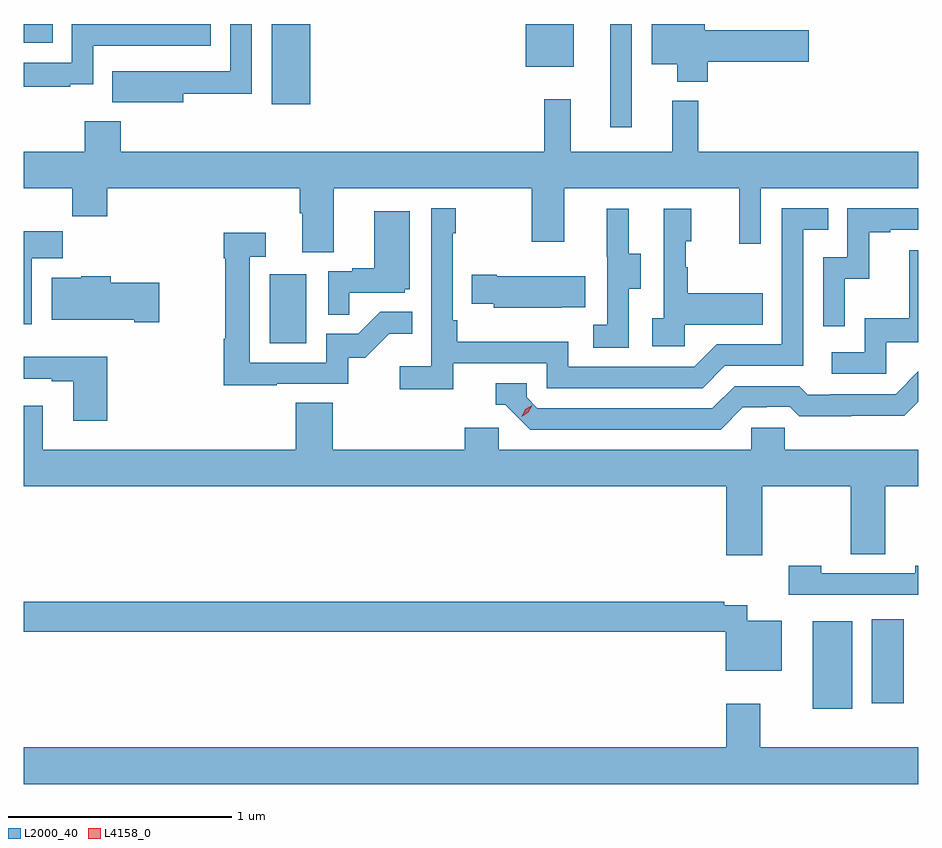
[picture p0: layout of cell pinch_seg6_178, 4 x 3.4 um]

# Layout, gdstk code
import gdstk
lib = gdstk.Library(unit=1e-6, precision=1e-09)
def R(c, l, rs):  # rectangles x0, y0, x1, y1
    for r in rs: c.add(gdstk.rectangle(r[:2], r[2:], *l))
def P(c, l, *ps):  # polygons
    for p in ps: c.add(gdstk.Polygon(p, *l))
L2000_40 = (2000, 40)
L4158_0 = (4158, 0)

pinch_seg6_178 = lib.new_cell('pinch_seg6_178')
R(pinch_seg6_178, L2000_40, [(1024.67,923.696,1024.846,924.088), (1024.934,923.721,1025.077,924.097), (1022.24,925.332,1022.404,925.639), (1023.764,926.298,1023.861,926.759), (1022.249,926.4,1022.422,926.759), (1023.386,926.567,1023.601,926.759), (1021.141,926.676,1021.271,926.759)])
P(pinch_seg6_178, L2000_40, [(1024.199,926.59),(1024.651,926.59),(1024.651,926.732),(1024.186,926.732),(1024.186,926.759),(1023.95,926.759),(1023.95,926.579),(1024.064,926.579),(1024.064,926.501),(1024.199,926.501)],
  [(1021.349,926.489),(1021.452,926.489),(1021.452,926.661),(1021.978,926.661),(1021.978,926.757),(1021.865,926.757),(1021.865,926.759),(1021.356,926.759),(1021.356,926.586),(1021.141,926.586),(1021.141,926.478),(1021.349,926.478)],
  [(1021.855,926.446),(1022.16,926.446),(1022.16,926.759),(1022.064,926.759),(1022.064,926.547),(1021.751,926.547),(1021.751,926.548),(1021.537,926.548),(1021.537,926.408),(1021.855,926.408)],
  [(1021.574,926.323),(1021.414,926.323),(1021.414,926.188),(1021.141,926.188),(1021.141,926.024),(1021.357,926.024),(1021.357,925.9),(1021.514,925.9),(1021.514,926.024),(1022.375,926.024),(1022.375,925.912),(1022.387,925.912),(1022.387,925.738),(1022.527,925.738),(1022.527,926.024),(1023.412,926.024),(1023.412,925.785),(1023.559,925.785),(1023.559,926.024),(1024.34,926.024),(1024.34,925.776),(1024.437,925.776),(1024.437,926.024),(1025.141,926.024),(1025.141,926.188),(1024.157,926.188),(1024.157,926.416),(1024.04,926.416),(1024.04,926.188),(1023.587,926.188),(1023.587,926.422),(1023.469,926.422),(1023.469,926.188),(1021.574,926.188)],
  [(1023.062,925.242),(1023.48,925.242),(1023.48,925.131),(1024.177,925.131),(1024.276,925.23),(1024.626,925.23),(1024.626,925.839),(1024.739,925.839),(1024.739,925.935),(1024.53,925.935),(1024.53,925.326),(1024.239,925.326),(1024.14,925.227),(1023.576,925.227),(1023.576,925.339),(1023.08,925.339),(1023.08,925.435),(1023.06,925.435),(1023.06,925.823),(1023.073,925.823),(1023.073,925.936),(1022.964,925.936),(1022.964,925.228),(1022.823,925.228),(1022.823,925.126),(1023.062,925.126)],
  [(1024.812,925.619),(1024.922,925.619),(1024.922,925.827),(1025.017,925.827),(1025.017,925.839),(1025.141,925.839),(1025.141,925.935),(1024.824,925.935),(1024.824,925.716),(1024.716,925.716),(1024.716,925.407),(1024.812,925.407)],
  [(1023.846,925.576),(1023.901,925.576),(1023.901,925.731),(1023.847,925.731),(1023.847,925.933),(1023.749,925.933),(1023.749,925.719),(1023.75,925.719),(1023.75,925.415),(1023.687,925.415),(1023.687,925.312),(1023.846,925.312)],
  [(1024.098,925.415),(1024.445,925.415),(1024.445,925.555),(1024.111,925.555),(1024.111,925.67),(1024.101,925.67),(1024.101,925.788),(1024.126,925.788),(1024.126,925.933),(1024.002,925.933),(1024.002,925.442),(1023.951,925.442),(1023.951,925.317),(1024.098,925.317)],
  [(1022.597,925.557),(1022.844,925.557),(1022.844,925.572),(1022.866,925.572),(1022.866,925.921),(1022.708,925.921),(1022.708,925.666),(1022.609,925.666),(1022.609,925.653),(1022.502,925.653),(1022.502,925.459),(1022.597,925.459)],
  [(1021.177,925.712),(1021.316,925.712),(1021.316,925.831),(1021.141,925.831),(1021.141,925.416),(1021.177,925.416)],
  [(1022.273,925.149),(1022.592,925.149),(1022.592,925.266),(1022.668,925.266),(1022.775,925.373),(1022.879,925.373),(1022.879,925.472),(1022.735,925.472),(1022.637,925.374),(1022.493,925.374),(1022.493,925.245),(1022.151,925.245),(1022.151,925.719),(1022.224,925.719),(1022.224,925.825),(1022.035,925.825),(1022.035,925.712),(1022.043,925.712),(1022.043,925.352),(1022.035,925.352),(1022.035,925.144),(1022.273,925.144)],
  [(1024.998,925.335),(1025.141,925.335),(1025.141,925.747),(1025.101,925.747),(1025.101,925.444),(1024.902,925.444),(1024.902,925.29),(1024.755,925.29),(1024.755,925.194),(1024.998,925.194)],
  [(1023.545,925.493),(1023.653,925.493),(1023.653,925.63),(1023.256,925.63),(1023.256,925.638),(1023.145,925.638),(1023.145,925.508),(1023.243,925.508),(1023.243,925.49),(1023.545,925.49)],
  [(1021.747,925.602),(1021.529,925.602),(1021.529,925.63),(1021.398,925.63),(1021.398,925.624),(1021.265,925.624),(1021.265,925.436),(1021.634,925.436),(1021.634,925.424),(1021.747,925.424)],
  [(1021.514,925.27),(1021.141,925.27),(1021.141,925.173),(1021.265,925.173),(1021.265,925.161),(1021.361,925.161),(1021.361,924.984),(1021.514,924.984)],
  [(1024.357,925.044),(1024.464,925.044),(1024.464,925.047),(1024.567,925.047),(1024.609,925.005),(1024.842,925.005),(1024.842,925.007),(1025.078,925.007),(1025.141,925.07),(1025.141,925.205),(1025.04,925.104),(1024.747,925.104),(1024.747,925.101),(1024.648,925.101),(1024.609,925.14),(1024.32,925.14),(1024.221,925.041),(1023.438,925.041),(1023.39,925.089),(1023.39,925.152),(1023.251,925.152),(1023.251,925.056),(1023.294,925.056),(1023.405,924.945),(1024.258,924.945)],
  [(1024.443,924.692),(1024.84,924.692),(1024.84,924.388),(1024.994,924.388),(1024.994,924.692),(1025.141,924.692),(1025.141,924.856),(1024.545,924.856),(1024.545,924.954),(1024.395,924.954),(1024.395,924.856),(1023.264,924.856),(1023.264,924.954),(1023.113,924.954),(1023.113,924.856),(1022.522,924.856),(1022.522,925.064),(1022.357,925.064),(1022.357,924.856),(1021.225,924.856),(1021.225,925.051),(1021.141,925.051),(1021.141,924.692),(1024.283,924.692),(1024.283,924.384),(1024.443,924.384)],
  [(1025.141,924.336),(1025.127,924.336),(1025.127,924.303),(1024.707,924.303),(1024.707,924.336),(1024.563,924.336),(1024.563,924.207),(1025.141,924.207)],
  [(1024.531,924.091),(1024.377,924.091),(1024.377,924.159),(1024.274,924.159),(1024.274,924.176),(1021.141,924.176),(1021.141,924.04),(1024.281,924.04),(1024.281,923.867),(1024.531,923.867)],
  [(1025.141,923.524),(1024.435,923.524),(1024.435,923.719),(1024.283,923.719),(1024.283,923.524),(1021.141,923.524),(1021.141,923.36),(1025.141,923.36)])
P(pinch_seg6_178, L4158_0, [(1023.367,925.003),(1023.367,925.003),(1023.383,925.036),(1023.414,925.055),(1023.414,925.055),(1023.414,925.054),(1023.398,925.022),(1023.367,925.003)])

lib.write_gds('pinch_seg6_178.gds')
